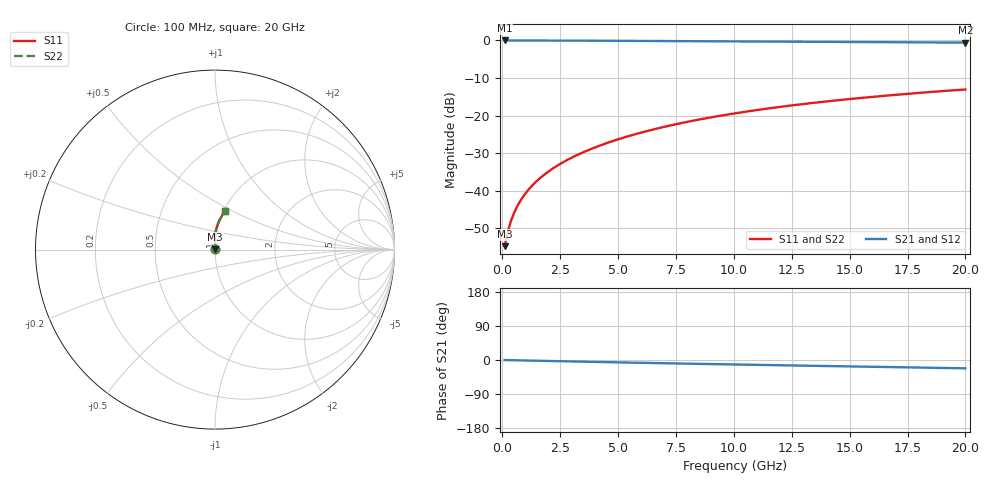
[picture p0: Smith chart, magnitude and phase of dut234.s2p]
! Touchstone file exported from HFSS 2024.1.0
!  File:  C:/UserFiles/LocalFiles/RDL_TSV_Batchsim/temp_RDL_top_234_1778688247.aedt
!  Generated:  12:06:14 AM May 14, 2026
!  Design:  RDL_top
!  Project:  temp_RDL_top_234_1778688247
!  Setup:  Setup1
!  Solution:  Sweep
! Variables:
!  dtsv = 10.80580581um
!  hbump = 3um
!  htsv = 80.5um
!  ldown = 100um
!  lrdl = 273.85um
!  p = 40
!  p1 = 56.55um
!  rhole = 1um
!  t = 450um
!  tdown = 3.915915916um
!  trdl = 2.85um
!  wdown = 15.38538539um
!  wrdl = 27.67um
# GHz S MA R 50.000000
! Terminal data exported
! Port[1] = Box2_T1
! Port[2] = Box2_T2
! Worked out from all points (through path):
!   200 points, 100 MHz to 20 GHz, reference 50 ohm
!   highest |S21| = -0.01 dB at 100 MHz (marker M1); lowest = -0.6 dB at 20 GHz (marker M2)
!   group delay of S21, straight-line fit = 3 ps
!   lowest |S11| = -54.7 dB at 100 MHz (marker M3), VSWR 1.00, Z = 50.2 + j0.1 ohm
!   |S11| at or under -10 dB: start of sweep to end of sweep
!   |S22| runs from -54.7 to -13.0 dB; largest |S21 - S12| = 6.4e-15
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0.1  0.001835 33.0  0.9985 -0.1  0.9985 -0.1  0.001835 33.0
! Gamma 0 0 0 0
! Port Impedance 50 0 50 0
0.2  0.002537 50.9  0.9984 -0.3  0.9984 -0.3  0.002537 50.9
0.3  0.003344 60.0  0.9983 -0.4  0.9983 -0.4  0.003344 60.0
0.4  0.004172 65.5  0.9982 -0.5  0.9982 -0.5  0.004172 65.5
0.5  0.005002 69.3  0.998 -0.7  0.998 -0.7  0.005002 69.3
0.6  0.005835 72.1  0.9979 -0.8  0.9979 -0.8  0.005835 72.1
0.8  0.007515 76.1  0.9977 -1.1  0.9977 -1.1  0.007515 76.1
1.1  0.01008 80.1  0.9974 -1.4  0.9974 -1.4  0.01008 80.1
1.3  0.01183 81.9  0.9971 -1.7  0.9971 -1.7  0.01183 81.9
1.6  0.01449 84.0  0.9967 -2.1  0.9967 -2.1  0.01449 84.0
2.1  0.01904 86.4  0.9958 -2.7  0.9958 -2.7  0.01904 86.4
2.7  0.0247 88.2  0.9945 -3.5  0.9945 -3.5  0.0247 88.2
3.5  0.03257 89.7  0.9924 -4.5  0.9924 -4.5  0.03257 89.7
4.2  0.03978 90.4  0.9902 -5.3  0.9902 -5.3  0.03978 90.4
5  0.04835 90.7  0.9876 -6.3  0.9876 -6.3  0.04835 90.7
6.8  0.06865 90.3  0.9812 -8.4  0.9812 -8.4  0.06865 90.3
8.4  0.08747 89.0  0.9754 -10.1  0.9754 -10.1  0.08747 89.0
10.1  0.1078 87.2  0.9693 -11.9  0.9693 -11.9  0.1078 87.2
11.7  0.127 85.3  0.9637 -13.6  0.9637 -13.6  0.127 85.3
13.4  0.1473 83.2  0.9579 -15.3  0.9579 -15.3  0.1473 83.2
16.7  0.1857 79.1  0.9467 -18.7  0.9467 -18.7  0.1857 79.1
20  0.2226 75.1  0.9353 -21.9  0.9353 -21.9  0.2226 75.1
